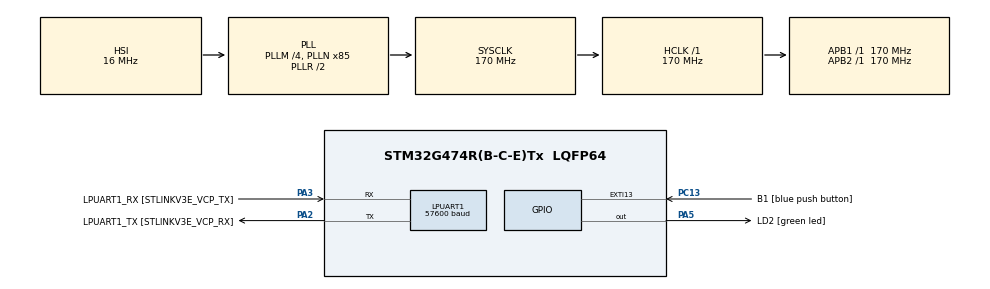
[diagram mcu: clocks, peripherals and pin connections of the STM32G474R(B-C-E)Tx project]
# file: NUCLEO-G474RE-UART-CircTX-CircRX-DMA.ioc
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Dma.LPUART1_RX.1.Direction=DMA_PERIPH_TO_MEMORY
Dma.LPUART1_RX.1.EventEnable=DISABLE
Dma.LPUART1_RX.1.Instance=DMA1_Channel2
Dma.LPUART1_RX.1.MemDataAlignment=DMA_MDATAALIGN_BYTE
Dma.LPUART1_RX.1.MemInc=DMA_MINC_ENABLE
Dma.LPUART1_RX.1.Mode=DMA_CIRCULAR
Dma.LPUART1_RX.1.PeriphDataAlignment=DMA_PDATAALIGN_BYTE
Dma.LPUART1_RX.1.PeriphInc=DMA_PINC_DISABLE
Dma.LPUART1_RX.1.Polarity=HAL_DMAMUX_REQ_GEN_RISING
Dma.LPUART1_RX.1.Priority=DMA_PRIORITY_LOW
Dma.LPUART1_RX.1.RequestNumber=1
Dma.LPUART1_RX.1.SignalID=NONE
Dma.LPUART1_RX.1.SyncEnable=DISABLE
Dma.LPUART1_RX.1.SyncPolarity=HAL_DMAMUX_SYNC_NO_EVENT
Dma.LPUART1_RX.1.SyncRequestNumber=1
Dma.LPUART1_RX.1.SyncSignalID=NONE
Dma.LPUART1_TX.0.Direction=DMA_MEMORY_TO_PERIPH
Dma.LPUART1_TX.0.EventEnable=DISABLE
Dma.LPUART1_TX.0.Instance=DMA1_Channel1
Dma.LPUART1_TX.0.MemDataAlignment=DMA_MDATAALIGN_BYTE
Dma.LPUART1_TX.0.MemInc=DMA_MINC_ENABLE
Dma.LPUART1_TX.0.Mode=DMA_CIRCULAR
Dma.LPUART1_TX.0.PeriphDataAlignment=DMA_PDATAALIGN_BYTE
Dma.LPUART1_TX.0.PeriphInc=DMA_PINC_DISABLE
Dma.LPUART1_TX.0.Polarity=HAL_DMAMUX_REQ_GEN_RISING
Dma.LPUART1_TX.0.Priority=DMA_PRIORITY_LOW
Dma.LPUART1_TX.0.RequestNumber=1
Dma.LPUART1_TX.0.SignalID=NONE
Dma.LPUART1_TX.0.SyncEnable=DISABLE
Dma.LPUART1_TX.0.SyncPolarity=HAL_DMAMUX_SYNC_NO_EVENT
Dma.LPUART1_TX.0.SyncRequestNumber=1
Dma.LPUART1_TX.0.SyncSignalID=NONE
Dma.Request0=LPUART1_TX
Dma.Request1=LPUART1_RX
LPUART1.BaudRate=57600
LPUART1.WordLength=UART_WORDLENGTH_8B
Mcu.Family=STM32G4
Mcu.Name=STM32G474R(B-C-E)Tx
Mcu.Package=LQFP64
NVIC.DMA1_Channel1_IRQn=true\:0\:0\:false\:false\:true\:false\:true\:true
NVIC.DMA1_Channel2_IRQn=true\:0\:0\:false\:false\:true\:false\:true\:true
NVIC.EXTI15_10_IRQn=true\:0\:0\:false\:false\:true\:true\:true\:true
NVIC.LPUART1_IRQn=true\:0\:0\:false\:false\:true\:true\:true\:true
NVIC.PriorityGroup=NVIC_PRIORITYGROUP_4
PA13.GPIO_Label=T_SWDIO
PA13.Mode=Trace_Asynchronous_SW
PA13.Signal=SYS_JTMS-SWDIO
PA14.GPIO_Label=T_SWCLK
PA14.Mode=Trace_Asynchronous_SW
PA14.Signal=SYS_JTCK-SWCLK
PA2.GPIO_Label=LPUART1_TX [STLINKV3E_VCP_RX]
PA2.Mode=Asynchronous
PA2.Signal=LPUART1_TX
PA3.GPIO_Label=LPUART1_RX [STLINKV3E_VCP_TX]
PA3.Mode=Asynchronous
PA3.Signal=LPUART1_RX
PA5.GPIO_Label=LD2 [green led]
PA5.Signal=GPIO_Output
PB3.GPIO_Label=T_SWO
PB3.Mode=Trace_Asynchronous_SW
PB3.Signal=SYS_JTDO-SWO
PC13.GPIO_Label=B1 [blue push button]
PC13.Signal=GPXTI13
PC14-OSC32_IN.Mode=LSE-External-Oscillator
PC14-OSC32_IN.Signal=RCC_OSC32_IN
PC15-OSC32_OUT.Mode=LSE-External-Oscillator
PC15-OSC32_OUT.Signal=RCC_OSC32_OUT
PF0-OSC_IN.Mode=HSE-External-Oscillator
PF0-OSC_IN.Signal=RCC_OSC_IN
PF1-OSC_OUT.Mode=HSE-External-Oscillator
PF1-OSC_OUT.Signal=RCC_OSC_OUT
ProjectManager.HeapSize=0x200
ProjectManager.StackSize=0x400
ProjectManager.TargetToolchain=STM32CubeIDE
RCC.ADC12Freq_Value=170000000
RCC.ADC345Freq_Value=170000000
RCC.AHBFreq_Value=170000000
RCC.APB1Freq_Value=170000000
RCC.APB1TimFreq_Value=170000000
RCC.APB2Freq_Value=170000000
RCC.APB2TimFreq_Value=170000000
RCC.CortexFreq_Value=170000000
RCC.EXTERNAL_CLOCK_VALUE=12288000
RCC.HCLKFreq_Value=170000000
RCC.HSE_VALUE=24000000
RCC.HSI48_VALUE=48000000
RCC.HSI_VALUE=16000000
RCC.PLLM=RCC_PLLM_DIV4
RCC.PLLN=85
RCC.RTCClockSelection=RCC_RTCCLKSOURCE_LSE
RCC.SYSCLKFreq_VALUE=170000000
RCC.SYSCLKSource=RCC_SYSCLKSOURCE_PLLCLK
RCC.USBFreq_Value=170000000
RCC.VCOOutputFreq_Value=340000000
VP_SYS_VS_DBSignals.Mode=DisableDeadBatterySignals
board=NUCLEO-G474RE

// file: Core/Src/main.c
/* USER CODE BEGIN Header */
/**
 ******************************************************************************
 * @file           : main.c
 * @brief          : Main program body
 ******************************************************************************
 * @attention
 *
 * Copyright (c) 2022 STMicroelectronics.
 * All rights reserved.
 *
 * This software is licensed under terms that can be found in the LICENSE file
 * in the root directory of this software component.
 * If no LICENSE file comes with this software, it is provided AS-IS.
 *
 ******************************************************************************
 */
/* USER CODE END Header */
#include "main.h"

/* USER CODE BEGIN PD */

#define TXBUFFERSIZE                      (COUNTOF(aTxBuffer) - 1)
#define COUNTOF(__BUFFER__)   (sizeof(__BUFFER__) / sizeof(*(__BUFFER__)))

/* USER CODE END PD */

UART_HandleTypeDef hlpuart1;
DMA_HandleTypeDef hdma_lpuart1_tx;
DMA_HandleTypeDef hdma_lpuart1_rx;

/* USER CODE BEGIN PV */

__IO ITStatus UartTxReady = RESET;
__IO ITStatus UartRxReady = RESET;

/* Buffer used for transmission */
uint8_t aTxBuffer[] = " NUCLEO-G474RE-UART-CircTX-CircRX-DMA \n";

uint8_t UartTxBuffer[1];
uint8_t UartRxBuffer[1];

/* USER CODE END PV */

void SystemClock_Config(void);
static void MX_GPIO_Init(void);
static void MX_DMA_Init(void);
static void MX_LPUART1_UART_Init(void);

int main(void)
{

	/* MCU Configuration--------------------------------------------------------*/

	/* Reset of all peripherals, Initializes the Flash interface and the Systick. */
	HAL_Init();

	/* Configure the system clock */
	SystemClock_Config();

	/* Initialize all configured peripherals */
	MX_GPIO_Init();
	MX_DMA_Init();
	MX_LPUART1_UART_Init();
	/* USER CODE BEGIN 2 */

	if (HAL_UART_Transmit_DMA(&hlpuart1, (uint8_t *)aTxBuffer, TXBUFFERSIZE) != HAL_OK)
	{
		Error_Handler();
	}
//	while (UartTxReady != SET)
//	{
//	}
//	UartTxReady = RESET;

	//	UartTxBuffer[0] = 0x2a; //"*"
	//	if (HAL_UART_Transmit_DMA(&hlpuart1, (uint8_t *)UartTxBuffer, 1) != HAL_OK)
	//	{
	//		Error_Handler();
	//	}
	//	while (UartTxReady != SET)
	//	{
	//	}
	//	UartTxReady = RESET;

	if (HAL_UART_Receive_DMA(&hlpuart1, (uint8_t *)UartRxBuffer, 1) != HAL_OK)
	{
		Error_Handler();
	}

	//		  HAL_GPIO_WritePin(GPIOA, GPIO_PIN_5, SET);

	/* USER CODE END 2 */

	/* Infinite loop */
	/* USER CODE BEGIN WHILE */
	while (1)
	{
		//		HAL_GPIO_TogglePin(GPIOA, GPIO_PIN_5);
		//		HAL_Delay(200);
		/* USER CODE END WHILE */

	}
}

void SystemClock_Config(void)
{
	RCC_OscInitTypeDef RCC_OscInitStruct = {0};
	RCC_ClkInitTypeDef RCC_ClkInitStruct = {0};

	/** Configure the main internal regulator output voltage
	 */
	HAL_PWREx_ControlVoltageScaling(PWR_REGULATOR_VOLTAGE_SCALE1_BOOST);

	/** Initializes the RCC Oscillators according to the specified parameters
	 * in the RCC_OscInitTypeDef structure.
	 */
	RCC_OscInitStruct.OscillatorType = RCC_OSCILLATORTYPE_HSI;
	RCC_OscInitStruct.HSIState = RCC_HSI_ON;
	RCC_OscInitStruct.HSICalibrationValue = RCC_HSICALIBRATION_DEFAULT;
	RCC_OscInitStruct.PLL.PLLState = RCC_PLL_ON;
	RCC_OscInitStruct.PLL.PLLSource = RCC_PLLSOURCE_HSI;
	RCC_OscInitStruct.PLL.PLLM = RCC_PLLM_DIV4;
	RCC_OscInitStruct.PLL.PLLN = 85;
	RCC_OscInitStruct.PLL.PLLP = RCC_PLLP_DIV2;
	RCC_OscInitStruct.PLL.PLLQ = RCC_PLLQ_DIV2;
	RCC_OscInitStruct.PLL.PLLR = RCC_PLLR_DIV2;
	if (HAL_RCC_OscConfig(&RCC_OscInitStruct) != HAL_OK)
	{
		Error_Handler();
	}

	/** Initializes the CPU, AHB and APB buses clocks
	 */
	RCC_ClkInitStruct.ClockType = RCC_CLOCKTYPE_HCLK|RCC_CLOCKTYPE_SYSCLK
			|RCC_CLOCKTYPE_PCLK1|RCC_CLOCKTYPE_PCLK2;
	RCC_ClkInitStruct.SYSCLKSource = RCC_SYSCLKSOURCE_PLLCLK;
	RCC_ClkInitStruct.AHBCLKDivider = RCC_SYSCLK_DIV1;
	RCC_ClkInitStruct.APB1CLKDivider = RCC_HCLK_DIV1;
	RCC_ClkInitStruct.APB2CLKDivider = RCC_HCLK_DIV1;

	if (HAL_RCC_ClockConfig(&RCC_ClkInitStruct, FLASH_LATENCY_4) != HAL_OK)
	{
		Error_Handler();
	}
}

static void MX_LPUART1_UART_Init(void)
{

	hlpuart1.Instance = LPUART1;
	hlpuart1.Init.BaudRate = 57600;
	hlpuart1.Init.WordLength = UART_WORDLENGTH_8B;
	hlpuart1.Init.StopBits = UART_STOPBITS_1;
	hlpuart1.Init.Parity = UART_PARITY_NONE;
	hlpuart1.Init.Mode = UART_MODE_TX_RX;
	hlpuart1.Init.HwFlowCtl = UART_HWCONTROL_NONE;
	hlpuart1.Init.OneBitSampling = UART_ONE_BIT_SAMPLE_DISABLE;
	hlpuart1.Init.ClockPrescaler = UART_PRESCALER_DIV1;
	hlpuart1.AdvancedInit.AdvFeatureInit = UART_ADVFEATURE_NO_INIT;
	if (HAL_UART_Init(&hlpuart1) != HAL_OK)
	{
		Error_Handler();
	}
	if (HAL_UARTEx_SetTxFifoThreshold(&hlpuart1, UART_TXFIFO_THRESHOLD_1_8) != HAL_OK)
	{
		Error_Handler();
	}
	if (HAL_UARTEx_SetRxFifoThreshold(&hlpuart1, UART_RXFIFO_THRESHOLD_1_8) != HAL_OK)
	{
		Error_Handler();
	}
	if (HAL_UARTEx_DisableFifoMode(&hlpuart1) != HAL_OK)
	{
		Error_Handler();
	}

}

static void MX_DMA_Init(void)
{

	/* DMA controller clock enable */
	__HAL_RCC_DMAMUX1_CLK_ENABLE();
	__HAL_RCC_DMA1_CLK_ENABLE();

	/* DMA interrupt init */
	/* DMA1_Channel1_IRQn interrupt configuration */
	HAL_NVIC_SetPriority(DMA1_Channel1_IRQn, 0, 0);
	HAL_NVIC_EnableIRQ(DMA1_Channel1_IRQn);
	/* DMA1_Channel2_IRQn interrupt configuration */
	HAL_NVIC_SetPriority(DMA1_Channel2_IRQn, 0, 0);
	HAL_NVIC_EnableIRQ(DMA1_Channel2_IRQn);

}

static void MX_GPIO_Init(void)
{
	GPIO_InitTypeDef GPIO_InitStruct = {0};

	/* GPIO Ports Clock Enable */
	__HAL_RCC_GPIOC_CLK_ENABLE();
	__HAL_RCC_GPIOF_CLK_ENABLE();
	__HAL_RCC_GPIOA_CLK_ENABLE();
	__HAL_RCC_GPIOB_CLK_ENABLE();

	/*Configure GPIO pin Output Level */
	HAL_GPIO_WritePin(LD2_GPIO_Port, LD2_Pin, GPIO_PIN_RESET);

	/*Configure GPIO pin : B1_Pin */
	GPIO_InitStruct.Pin = B1_Pin;
	GPIO_InitStruct.Mode = GPIO_MODE_IT_RISING;
	GPIO_InitStruct.Pull = GPIO_NOPULL;
	HAL_GPIO_Init(B1_GPIO_Port, &GPIO_InitStruct);

	/*Configure GPIO pin : LD2_Pin */
	GPIO_InitStruct.Pin = LD2_Pin;
	GPIO_InitStruct.Mode = GPIO_MODE_OUTPUT_PP;
	GPIO_InitStruct.Pull = GPIO_NOPULL;
	GPIO_InitStruct.Speed = GPIO_SPEED_FREQ_LOW;
	HAL_GPIO_Init(LD2_GPIO_Port, &GPIO_InitStruct);

	/* EXTI interrupt init*/
	HAL_NVIC_SetPriority(EXTI15_10_IRQn, 0, 0);
	HAL_NVIC_EnableIRQ(EXTI15_10_IRQn);

}

/* USER CODE BEGIN 4 */

void HAL_UART_TxCpltCallback(UART_HandleTypeDef *huart)
{
	/* Prevent unused argument(s) compilation warning */
	UNUSED(huart);

	/* NOTE : This function should not be modified, when the callback is needed,
            the HAL_UART_RxCpltCallback can be implemented in the user file.
	 */

	UartTxReady = SET;
	//	HAL_GPIO_TogglePin(GPIOA, GPIO_PIN_5);

}

void HAL_UART_RxCpltCallback(UART_HandleTypeDef *huart)
{
	/* Prevent unused argument(s) compilation warning */
	UNUSED(huart);

	/* NOTE : This function should not be modified, when the callback is needed,
            the HAL_UART_RxCpltCallback can be implemented in the user file.
	 */
	//		HAL_GPIO_TogglePin(GPIOA, GPIO_PIN_5);

	//		if (HAL_UART_Receive_DMA(&hlpuart1, (uint8_t *)UartRxBuffer, 1) != HAL_OK)
	//		{
	//			Error_Handler();
	//		}

		HAL_UART_DMAStop(&hlpuart1);
//	HAL_UART_Abort(&hlpuart1);

	if (HAL_UART_Receive_DMA(&hlpuart1, (uint8_t *)UartRxBuffer, 1) != HAL_OK)
	{
		Error_Handler();
	}

	if (HAL_UART_Transmit_DMA(&hlpuart1, (uint8_t *)UartRxBuffer, 1) != HAL_OK)
	{
		Error_Handler();
	}

//	HAL_GPIO_TogglePin(GPIOA, GPIO_PIN_5);
}

void HAL_UART_AbortCpltCallback(UART_HandleTypeDef *huart)
{
	/* Prevent unused argument(s) compilation warning */
	UNUSED(huart);

	/* NOTE : This function should not be modified, when the callback is needed,
            the HAL_UART_AbortCpltCallback can be implemented in the user file.
	 */

	//	if (HAL_UART_Transmit_DMA(&hlpuart1, (uint8_t *)UartRxBuffer, 1) != HAL_OK)
	//	{
	//		Error_Handler();
	//	}
	  HAL_GPIO_TogglePin(GPIOA, GPIO_PIN_5);
}

void HAL_UART_AbortTransmitCpltCallback(UART_HandleTypeDef *huart)
{
	/* Prevent unused argument(s) compilation warning */
	UNUSED(huart);

	/* NOTE : This function should not be modified, when the callback is needed,
            the HAL_UART_AbortTransmitCpltCallback can be implemented in the user file.
	 */
	//	if (HAL_UART_Transmit_DMA(&hlpuart1, (uint8_t *)UartRxBuffer, 1) != HAL_OK)
	//	{
	//		Error_Handler();
	//	}
	  HAL_GPIO_TogglePin(GPIOA, GPIO_PIN_5);
}

/* USER CODE END 4 */

void Error_Handler(void)
{
	/* USER CODE BEGIN Error_Handler_Debug */
	/* User can add his own implementation to report the HAL error return state */
	HAL_GPIO_TogglePin(GPIOA, GPIO_PIN_5);
	__disable_irq();
	while (1)
	{
	}
	/* USER CODE END Error_Handler_Debug */
}
